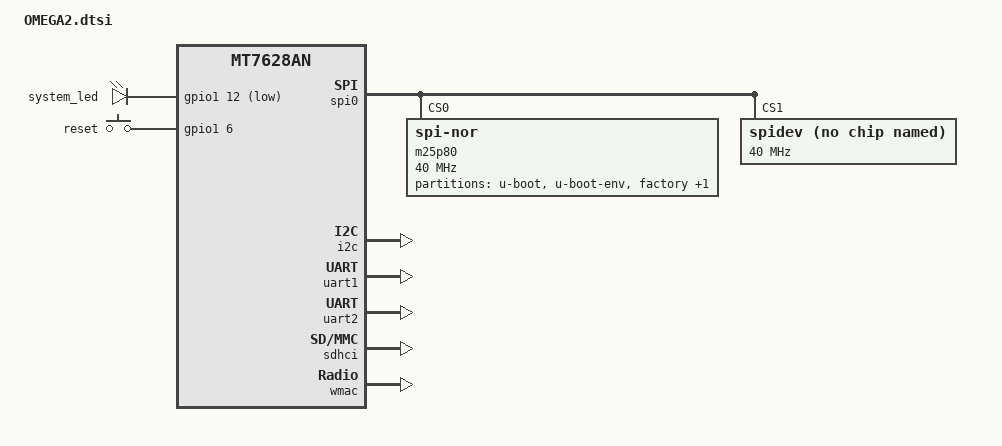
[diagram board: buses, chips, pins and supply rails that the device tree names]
#include "mt7628an.dtsi"

#include <dt-bindings/gpio/gpio.h>
#include <dt-bindings/input/input.h>

/ {
	compatible = "onion,omega2", "mediatek,mt7628an-soc";

	aliases {
		led-status = &system_led;
	};

	chosen {
		bootargs = "console=ttyS0,115200";
	};

	gpio-leds {
		compatible = "gpio-leds";

		system_led: system {
			gpios = <&gpio1 12 GPIO_ACTIVE_LOW>;
		};
	};

	gpio-keys-polled {
		compatible = "gpio-keys-polled";
		poll-interval = <20>;

		reset {
			label = "reset";
			gpios = <&gpio1 6 GPIO_ACTIVE_HIGH>;
			linux,code = <KEY_RESTART>;
		};
	};
};

&pinctrl {
	state_default: pinctrl0 {
		gpio {
			ralink,group = "gpio";
			ralink,function = "gpio";
		};

		perst {
			ralink,group = "perst";
			ralink,function = "gpio";
		};

		refclk {
			ralink,group = "refclk";
			ralink,function = "gpio";
		};

		i2s {
			ralink,group = "i2s";
			ralink,function = "gpio";
		};

		spis {
			ralink,group = "spis";
			ralink,function = "gpio";
		};

		wled_kn {
			ralink,group = "wled_kn";
			ralink,function = "gpio";
		};

		wled_an {
			ralink,group = "wled_an";
			ralink,function = "gpio";
		};

		wdt {
			ralink,group = "wdt";
			ralink,function = "gpio";
		};

		pwm0 {
			ralink,group = "pwm0";
			ralink,function = "gpio";
		};

		pwm1 {
			ralink,group = "pwm1";
			ralink,function = "gpio";
		};
	};
};

&gpio1 {
	status = "okay";
};

&gpio2 {
	status = "okay";
};

&spi0 {
	status = "okay";

	pinctrl-names = "default";
	pinctrl-0 = <&spi_pins>, <&spi_cs1_pins>;

	m25p80@0 {
		compatible = "jedec,spi-nor";
		reg = <0>;
		spi-max-frequency = <40000000>;
		m25p,chunked-io = <31>;

		partitions {
			compatible = "fixed-partitions";
			#address-cells = <1>;
			#size-cells = <1>;

			partition@0 {
				label = "u-boot";
				reg = <0x0 0x30000>;
				read-only;
			};

			partition@30000 {
				label = "u-boot-env";
				reg = <0x30000 0x10000>;
				read-only;
			};

			factory: partition@40000 {
				label = "factory";
				reg = <0x40000 0x10000>;
				read-only;
			};

			firmware: partition@50000 {
				label = "firmware";
			};
		};
	};

	spidev@1 {
		#address-cells = <1>;
		#size-cells = <1>;
		compatible = "linux,spidev";
		reg = <1>;
		spi-max-frequency = <40000000>;
	};
};

&i2c {
	status = "okay";
};

&uart1 {
	status = "okay";
};

&uart2 {
	status = "okay";
};

&ethernet {
	mtd-mac-address = <&factory 0x28>;
};

&sdhci {
	status = "okay";
	mediatek,cd-low;
};

&wmac {
	status = "okay";
};
